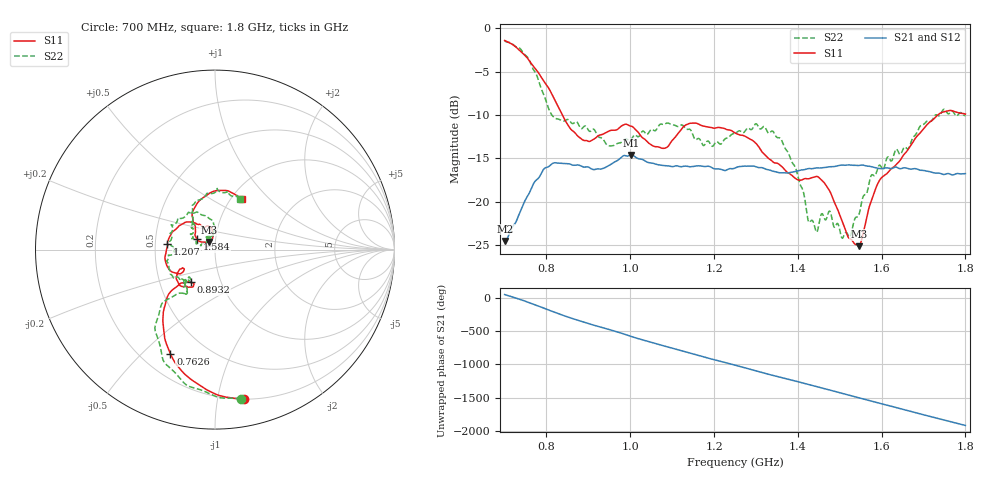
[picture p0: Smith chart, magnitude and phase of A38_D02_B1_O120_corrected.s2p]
! Created with skrf 1.9.0 (http://scikit-rf.org).
# Hz S RI R 50.0
!freq ReS11 ImS11 ReS21 ImS21 ReS12 ImS12 ReS22 ImS22
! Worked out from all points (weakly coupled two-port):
!   1601 points, 700 MHz to 1.8 GHz, reference 50 ohm
!   highest |S21| = -14.64 dB at 1.002 GHz (marker M1); lowest = -24.5 dB at 701.4 MHz (marker M2)
!   lowest |S11| = -25.2 dB at 1.546 GHz (marker M3), VSWR 1.12, Z = 46.5 + j4.04 ohm
!   |S11| at or under -10 dB: 837.8 MHz to 1.734 GHz (896.5 MHz wide, 69.7 % of centre)
!   |S22| runs from -24.2 to -1.5 dB; largest |S21 - S12| = 0.0035
!   S11 on the Smith chart (normalised r, x): 700 MHz: 0.20, -1.19; 762.6 MHz: 0.32, -0.61; 893.2 MHz: 0.72, -0.28; 1.207 GHz: 0.58, +0.04; 1.584 GHz: 0.81, +0.10; 1.8 GHz: 1.12, +0.70
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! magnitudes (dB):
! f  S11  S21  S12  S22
! 700 MHz  -1.4  -24.5  -24.3  -1.5
! 701.4 MHz  -1.4  -24.5  -24.2  -1.5
! 762.6 MHz  -4.0  -18.6  -18.6  -4.1
! 814.1 MHz  -7.7  -15.6  -15.7  -10.1
! 883.6 MHz  -12.8  -15.9  -15.8  -11.6
! 893.2 MHz  -12.9  -16.0  -16.1  -11.3
! 949.6 MHz  -11.9  -15.8  -15.8  -13.6
! 1.002 GHz  -11.3  -14.6  -14.7  -12.8
! 1.067 GHz  -13.7  -15.8  -15.7  -11.3
! 1.139 GHz  -11.0  -16.0  -15.9  -11.6
! 1.207 GHz  -11.5  -16.2  -16.3  -13.1
! 1.25 GHz  -12.1  -16.1  -16.1  -12.1
! 1.3 GHz  -13.3  -16.0  -16.0  -11.0
! 1.359 GHz  -15.8  -16.7  -16.7  -12.7
! 1.434 GHz  -17.3  -16.2  -16.2  -22.2
! 1.471 GHz  -18.4  -16.0  -16.0  -21.5
! 1.523 GHz  -24.2  -15.8  -15.8  -24.1
! 1.546 GHz  -25.2  -15.8  -15.8  -21.6
! 1.584 GHz  -18.7  -16.1  -16.1  -17.0
! 1.617 GHz  -16.5  -16.1  -16.1  -14.9
! 1.737 GHz  -9.9  -16.7  -16.8  -10.1
! 1.8 GHz  -9.9  -16.8  -16.8  -10.1
